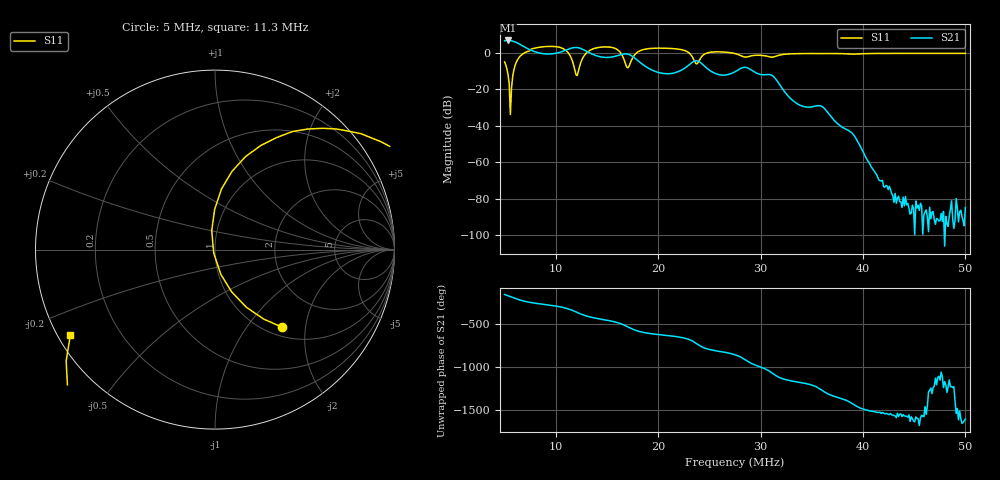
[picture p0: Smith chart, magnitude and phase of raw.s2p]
! S11/S21 only; reverse parameters are placeholders. Device calibration unverified.
! NanoVNA F V2 profile | COM3 | 2026-09-08T12:35:38.8256560-04:00 | device calibration unverified
# HZ S RI R 50
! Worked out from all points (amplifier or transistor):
!   401 points, 5 MHz to 50 MHz, reference 50 ohm
!   highest |S21| = 6.9 dB at 5.338 MHz (marker M1)
!   |S21| within 3 dB of that: start of sweep to 6.769 MHz
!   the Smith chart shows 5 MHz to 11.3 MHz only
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5000000  0.3705 -0.4307  -2.024 -0.7923  0 0  0 0
5337500  0.0923 -0.235  -2.191 -0.286  0 0  0 0
6912500  0.7478 0.6592  -0.8354 1.225  0 0  0 0
7250000  0.9257 0.6007  -0.5711 1.188  0 0  0 0
7812500  0.5037 -1.234  -0.2712 1.087  0 0  0 0
8937500  0.1222 -1.49  0.072 0.9437  0 0  0 0
1.11875e7  -0.8293 -0.6203  1.024 0.7371  0 0  0 0
1.25375e7  0.6351 0.0881  1.131 -0.6245  0 0  0 0
1.355e7  1.053 -0.7037  0.398 -0.8459  0 0  0 0
1.52375e7  0.4794 -1.376  -0.1628 -0.7426  0 0  0 0
1.65875e7  -0.5817 -0.4661  -0.7989 -0.4845  0 0  0 0
1.74875e7  0.4902 0.5288  -0.7603 0.2723  0 0  0 0
1.83875e7  1.201 0.0677  -0.2987 0.412  0 0  0 0
2.0075e7  1.264 -0.5129  -0.0314 0.2876  0 0  0 0
2.2775e7  0.7332 -0.8365  0.2735 0.3154  0 0  0 0
2.3675e7  0.3932 -0.3308  0.6124 -0.0311  0 0  0 0
2.49125e7  0.9877 -0.281  0.0977 -0.3388  0 0  0 0
2.75e7  0.7779 -0.5704  -0.2251 -0.2066  0 0  0 0
2.91875e7  0.7543 -0.3817  -0.152 0.2909  0 0  0 0
3.50375e7  0.7025 -0.6662  -0.022 -0.0251  0 0  0 0
4.2575e7  0.4424 -0.8697  -8.5e-05 -0.000203  0 0  0 0
5e7  0.1604 -0.962  -5.6e-05 -1.6e-05  0 0  0 0
